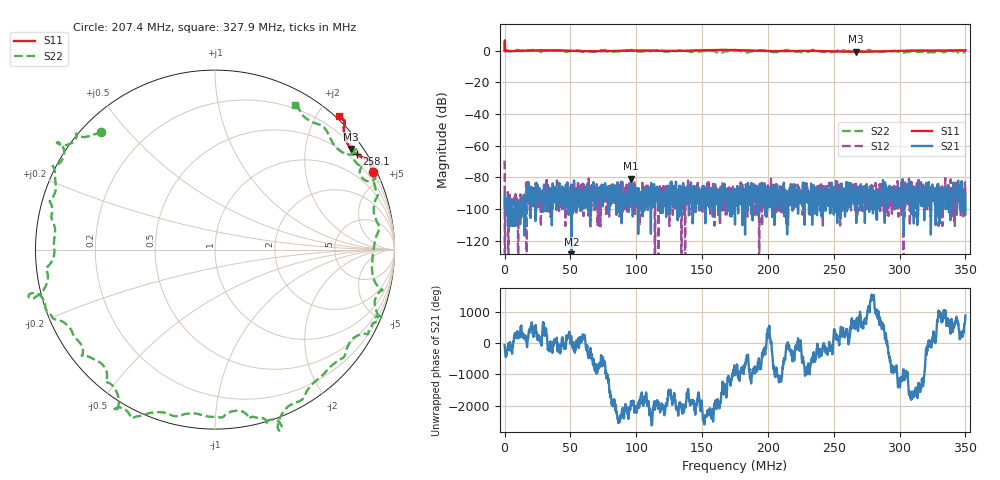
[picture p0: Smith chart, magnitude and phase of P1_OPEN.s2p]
# Hz S RI R 50
! RAW DATA - UNCALIBRATED
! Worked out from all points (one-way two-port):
!   1601 points, 30 kHz to 350 MHz, reference 50 ohm
!   highest |S21| = -80.84 dB at 96.05 MHz (marker M1); lowest = -191.4 dB at 50.78 MHz (marker M2)
!   lowest |S11| = -0.5 dB at 266.9 MHz (marker M3), VSWR 33.54, Z = 15 + j150 ohm
!   |S11| at or under -10 dB: nowhere
!   |S22| runs from -1.1 to 0.7 dB; largest |S21 - S12| = 0.00035
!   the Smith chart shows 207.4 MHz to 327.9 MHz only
!   S11 on the Smith chart (normalised r, x): 207.4 MHz: 0.19, +4.28; 258.1 MHz: 0.29, +3.26; 327.9 MHz: -0.05, +2.30
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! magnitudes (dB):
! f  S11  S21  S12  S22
! 30 kHz  0.5  -99.4  -69.4  0.4
! 1.999 MHz  -0.2  -102.9  -94.2  0.4
! 50.78 MHz  0.0  -191.4  -84.5  -0.2
! 58.43 MHz  -0.2  -92.7  -89.1  -0.4
! 96.05 MHz  0.1  -80.8  -92.3  0.6
! 116.8 MHz  0.0  -87.6  -185.7  0.4
! 145.3 MHz  0.2  -96.0  -94.6  -1.1
! 155.1 MHz  0.5  -97.6  -89.7  0.5
! 164.3 MHz  0.6  -90.8  -101.4  -0.8
! 175 MHz  0.5  -109.8  -89.8  0.5
! 183.5 MHz  0.3  -84.3  -85.5  -0.8
! 191.9 MHz  0.0  -86.3  -90.1  0.4
! 207.4 MHz  -0.2  -88.3  -91.7  -0.8
! 214.2 MHz  -0.1  -98.9  -103.7  0.5
! 227.3 MHz  0.0  -95.0  -87.6  -0.9
! 233.4 MHz  0.0  -86.9  -97.5  0.4
! 247 MHz  -0.2  -97.2  -88.8  -0.9
! 258.1 MHz  -0.4  -90.1  -88.3  0.2
! 266.9 MHz  -0.5  -88.4  -84.0  -0.8
! 291.8 MHz  -0.2  -90.4  -95.3  -0.2
! 327.9 MHz  0.1  -86.9  -86.6  -0.7
! 350 MHz  0.4  -91.0  -91.4  -0.4
